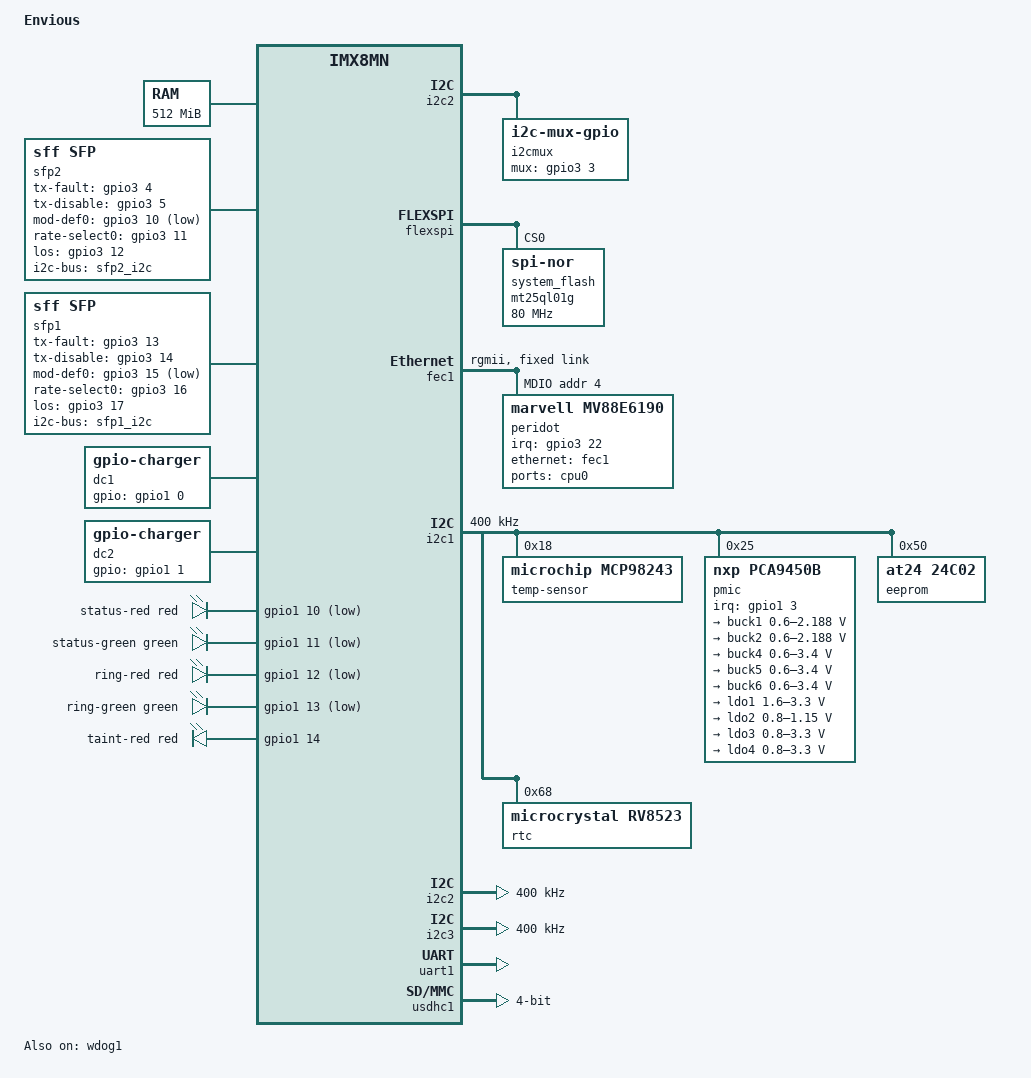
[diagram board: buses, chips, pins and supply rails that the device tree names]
// SPDX-License-Identifier: (GPL-2.0+ OR MIT)
/*
* Copyright 2019 NXP
*/

/dts-v1/;

#include <freescale/imx8mn.dtsi>
#include <dt-bindings/leds/common.h>

/* UPSTREAM */
&aips3 {
	flexspi: spi@30bb0000 {
		#address-cells = <1>;
		#size-cells = <0>;
		compatible = "nxp,imx8mn-fspi", "nxp,imx8mm-fspi";
		reg = <0x30bb0000 0x10000>, <0x8000000 0x10000000>;
		reg-names = "fspi_base", "fspi_mmap";
		interrupts = <GIC_SPI 107 IRQ_TYPE_LEVEL_HIGH>;
		clocks = <&clk IMX8MN_CLK_QSPI_ROOT>, <&clk IMX8MN_CLK_QSPI_ROOT>;
		clock-names = "fspi", "fspi_en";
		status = "disabled";
	};
};
/* END UPSTREAM */

#include <common/mv6.h>

/ {
	model = "Envious";
	compatible = "westermo,envoy", "fsl,imx8mn";

	chosen {
		stdout-path = &uart1;
	};

	memory@40000000 {
		device_type = "memory";
		reg = <0x0 0x40000000 0 0x20000000>;
	};
};

&A53_0 { cpu-supply = <&buck2>; };
&A53_1 { cpu-supply = <&buck2>; };
&A53_2 { cpu-supply = <&buck2>; };
&A53_3 { cpu-supply = <&buck2>; };

&cpu_alert0 {
	temperature = <95000>;
};

&cpu_crit0 {
	temperature = <105000>;
};

&ddrc {
	operating-points-v2 = <&ddrc_opp_table>;

	ddrc_opp_table: opp-table {
		compatible = "operating-points-v2";

		opp-50M {
			opp-hz = /bits/ 64 <50000000>;
		};

		opp-200M {
			opp-hz = /bits/ 64 <200000000>;
		};

		opp-800M {
			opp-hz = /bits/ 64 <800000000>;
		};
	};
};

&flexspi {
	status = "okay";
	pinctrl-names = "default";
	pinctrl-0 = <&pinctrl_flexspi0>;

	system_flash: mt25ql01g@0 {
		reg = <0>;
		compatible = "jedec,spi-nor";
		spi-max-frequency = <80000000>;
		spi-tx-bus-width = <4>;
		spi-rx-bus-width = <4>;
		#address-cells = <1>;
		#size-cells = <1>;
	};
};

&fec1 {
	status = "okay";
	pinctrl-names = "default";
	pinctrl-0 = <&pinctrl_fec1>;
	fsl,magic-packet;

	/* We're connected to a switch sending DSA tagged packets, so
	the FEC classifier will never queue anything on the AVB
	queues. */
	fsl,num-rx-queues = <1>;

	/* Enabling all more than one queue causes intermittent tx
	issues detailed here:
	https://lore.kernel.org/netdev/20200625085728.9869-1-tobias@waldekranz.com/
	*/
	fsl,num-tx-queues = <1>;

	phy-mode = "rgmii";
	fixed-link {
		speed = <1000>;
		full-duplex;
	};

	mdio {
		#address-cells = <1>;
		#size-cells = <0>;

		peridot: switch@4 {
			compatible = "marvell,mv88e6190";
			pinctrl-names = "default";
			pinctrl-0 = <&pinctrl_peridot>;
			interrupt-parent = <&gpio3>;
			interrupts = <22 IRQ_TYPE_LEVEL_LOW>;
			reg = <0x4>;

			dsa,member = <0 0>;
			dsa,num_tx_queues = <8>;

			interrupt-controller;
			#interrupt-cells = <2>;

			ports {
				#address-cells = <0x1>;
				#size-cells = <0x0>;

				port@0 {
					reg = <0x0>;
					label = "cpu0";
					ethernet = <&fec1>;
					phy-mode = "rgmii-id";

					fixed-link {
						speed = <1000>;
						full-duplex;
					};
				};

				mv6_port(1, "eth10", &phy1, "gmii");
				mv6_port(2, "eth9",  &phy2, "gmii");
				mv6_port(3, "eth8",  &phy3, "gmii");
				mv6_port(4, "eth7",  &phy4, "gmii");
				mv6_port(5, "eth6",  &phy5, "gmii");
				mv6_port(6, "eth5",  &phy6, "gmii");
				mv6_port(7, "eth4",  &phy7, "gmii");
				mv6_port(8, "eth3",  &phy8, "gmii");

				/* "SFP1" on schematic is connected to
				 eth2 and vice versa but in the DT we
				 map eth1<->sfp1. */
				mv6_port_sfp( 9, "eth2", &sfp2, "1000base-x");
				mv6_port_sfp(10, "eth1", &sfp1, "1000base-x");
			};

			mdio {
				#address-cells = <0x1>;
				#size-cells = <0x0>;
				interrupt-parent = <&peridot>;

				phy1: mv6_phy(1);
				phy2: mv6_phy(2);
				phy3: mv6_phy(3);
				phy4: mv6_phy(4);
				phy5: mv6_phy(5);
				phy6: mv6_phy(6);
				phy7: mv6_phy(7);
				phy8: mv6_phy(8);
			};
		};
	};
};

&i2c1 {
	status = "okay";
	clock-frequency = <400000>;
	pinctrl-names = "default";
	pinctrl-0 = <&pinctrl_i2c1>;

	temp-sensor@18 {
		compatible = "microchip,mcp98243", "jedec,jc-42.4-temp";
		reg = <0x18>;
	};

	pmic: pmic@25 {
		compatible = "nxp,pca9450b";
		reg = <0x25>;
		pinctrl-0 = <&pinctrl_pmic>;
		interrupt-parent = <&gpio1>;
		interrupts = <3 GPIO_ACTIVE_LOW>;

		regulators {
			buck1: BUCK1{
				regulator-name = "VDD_DRAM";
				regulator-min-microvolt = <600000>;
				regulator-max-microvolt = <2187500>;
				regulator-boot-on;
				regulator-always-on;
				regulator-ramp-delay = <3125>;
			};

			buck2: BUCK2 {
				regulator-name = "VDD_ARM";
				regulator-min-microvolt = <600000>;
				regulator-max-microvolt = <2187500>;
				regulator-boot-on;
				regulator-always-on;
				regulator-ramp-delay = <3125>;
				nxp,dvs-run-voltage = <950000>;
				nxp,dvs-standby-voltage = <850000>;
			};

			buck4: BUCK4{
				regulator-name = "NVCC_3V3";
				regulator-min-microvolt = <600000>;
				regulator-max-microvolt = <3400000>;
				regulator-boot-on;
				regulator-always-on;
			};

			buck5: BUCK5{
				regulator-name = "NVCC_1V8";
				regulator-min-microvolt = <600000>;
				regulator-max-microvolt = <3400000>;
				regulator-boot-on;
				regulator-always-on;
			};

			buck6: BUCK6 {
				regulator-name = "NVCC_DRAM_1V1";
				regulator-min-microvolt = <600000>;
				regulator-max-microvolt = <3400000>;
				regulator-boot-on;
				regulator-always-on;
			};

			ldo1: LDO1 {
				regulator-name = "NVCC_SNVS_1V8";
				regulator-min-microvolt = <1600000>;
				regulator-max-microvolt = <3300000>;
				regulator-boot-on;
				regulator-always-on;
			};

			ldo2: LDO2 {
				regulator-name = "NVCC_SNVS_0V8";
				regulator-min-microvolt = <800000>;
				regulator-max-microvolt = <1150000>;
				regulator-boot-on;
				regulator-always-on;
			};

			ldo3: LDO3 {
				regulator-name = "VDDA_1V8";
				regulator-min-microvolt = <800000>;
				regulator-max-microvolt = <3300000>;
				regulator-boot-on;
				regulator-always-on;
			};

			ldo4: LDO4 {
				regulator-name = "VDD_PHY_1V2";
				regulator-min-microvolt = <800000>;
				regulator-max-microvolt = <3300000>;
				regulator-boot-on;
				regulator-always-on;
			};
		};
	};

	eeprom@50 { /* Internal to the MCP98243 */
		compatible = "at24,24c02";
		reg = <0x50>;
		read-only;
	};

	rtc@68 {
		compatible = "microcrystal,rv8523", "nxp,pcf8523";
		reg = <0x68>;
	};
};

&i2c2 {
	status = "okay";
	clock-frequency = <400000>;
	pinctrl-names = "default";
	pinctrl-0 = <&pinctrl_i2c2>;
};

/ {
	i2cmux {
		compatible = "i2c-mux-gpio";
		pinctrl-names = "default";
		pinctrl-0 = <&pinctrl_sfpmux>;
		i2c-parent = <&i2c2>;
		mux-gpios = <&gpio3 3 GPIO_ACTIVE_HIGH>;
		#address-cells = <1>;
		#size-cells = <0>;

		sfp2_i2c: i2c@0 {
			reg = <0>;
			#address-cells = <1>;
			#size-cells = <0>;
		};

		sfp1_i2c: i2c@1 {
			reg = <1>;
			#address-cells = <1>;
			#size-cells = <0>;
		};
	};

	/* This is "SFP1" on the schematic, but it is connected to
	eth2, so we call it sfp2. */
	sfp2: sfp2 {
		compatible = "sff,sfp";
		pinctrl-names = "default";
		pinctrl-0 = <&pinctrl_sfp2>;
		maximum-power-milliwatt = <1000>;
		i2c-bus = <&sfp2_i2c>;

		tx-fault-gpios     = <&gpio3  4 GPIO_ACTIVE_HIGH>;
		tx-disable-gpios   = <&gpio3  5 GPIO_ACTIVE_HIGH>;
		mod-def0-gpios     = <&gpio3 10 GPIO_ACTIVE_LOW>;
		rate-select0-gpios = <&gpio3 11 GPIO_ACTIVE_HIGH>;
		los-gpios          = <&gpio3 12 GPIO_ACTIVE_HIGH>;
	};

	/* This is "SFP2" on the schematic, but it is connected to
	eth1, so we call it sfp1. */
	sfp1: sfp1 {
		compatible = "sff,sfp";
		pinctrl-names = "default";
		pinctrl-0 = <&pinctrl_sfp1>;
		maximum-power-milliwatt = <1000>;
		i2c-bus = <&sfp1_i2c>;

		tx-fault-gpios     = <&gpio3 13 GPIO_ACTIVE_HIGH>;
		tx-disable-gpios   = <&gpio3 14 GPIO_ACTIVE_HIGH>;
		mod-def0-gpios     = <&gpio3 15 GPIO_ACTIVE_LOW>;
		rate-select0-gpios = <&gpio3 16 GPIO_ACTIVE_HIGH>;
		los-gpios          = <&gpio3 17 GPIO_ACTIVE_HIGH>;
	};
};

poe_i2c: &i2c3 {
	status = "okay";
	clock-frequency = <400000>;
	pinctrl-names = "default";
	pinctrl-0 = <&pinctrl_i2c3>;
};

&uart1 { /* console */
	pinctrl-names = "default";
	pinctrl-0 = <&pinctrl_uart1>;
	status = "okay";
};

&usdhc1 {
	status = "okay";
	assigned-clocks = <&clk IMX8MN_CLK_USDHC1>;
	assigned-clock-rates = <200000000>;
	pinctrl-names = "default", "state_100mhz", "state_200mhz";
	pinctrl-0 = <&pinctrl_usdhc1>;
	pinctrl-1 = <&pinctrl_usdhc1_100mhz>;
	pinctrl-2 = <&pinctrl_usdhc1_200mhz>;
	bus-width = <4>;
	#address-cells = <1>;
	#size-cells = <0>;
};

&wdog1 {
	pinctrl-names = "default";
	pinctrl-0 = <&pinctrl_wdog>;
	fsl,ext-reset-output;
	status = "okay";
};

&snvs_rtc {
	/* The board uses an external RTC backed by a
	 * supercapacitor instead. */
	status = "disabled";
};

/ {
	dc1: dc1 {
		compatible = "gpio-charger";
		pinctrl-names = "default";
		pinctrl-0 = <&pinctrl_dc1>;
		charger-type = "mains";
		gpios = <&gpio1 0 GPIO_ACTIVE_HIGH>;
	};

	dc2: dc2 {
		compatible = "gpio-charger";
		pinctrl-names = "default";
		pinctrl-0 = <&pinctrl_dc2>;
		charger-type = "mains";
		gpios = <&gpio1 1 GPIO_ACTIVE_HIGH>;
	};

	gpio-leds {
		compatible = "gpio-leds";
		pinctrl-names = "default";
		pinctrl-0 = <&pinctrl_leds>;

		status-red {
			function = LED_FUNCTION_STATUS;
			color = <LED_COLOR_ID_RED>;
			gpios = <&gpio1 10 GPIO_ACTIVE_LOW>;
			default-state = "on";
		};
		status-green {
			function = LED_FUNCTION_STATUS;
			color = <LED_COLOR_ID_GREEN>;
			gpios = <&gpio1 11 GPIO_ACTIVE_LOW>;
		};

		ring-red {
			function = "ring";
			color = <LED_COLOR_ID_RED>;
			gpios = <&gpio1 12 GPIO_ACTIVE_LOW>;
		};
		ring-green {
			function = "ring";
			color = <LED_COLOR_ID_GREEN>;
			gpios = <&gpio1 13 GPIO_ACTIVE_LOW>;
		};

		taint-red {
			function = "taint";
			color = <LED_COLOR_ID_RED>;
			gpios = <&gpio1 14 GPIO_ACTIVE_HIGH>;
			default-state = "keep";
		};
	};

};

&gpio1 {
	pinctrl-names = "default";
	pinctrl-0 = <&pinctrl_io>;
	gpio-line-names =
	"dc1", "dc2", "", "",
	"io-in", "io-out", "", "",
	"", "", "led-on-red", "led-on-green",
	"led-ring-red", "led-ring-green", "led-taint-red", "led-taint-in",
	"", "", "", "",
	"", "", "", "",
	"", "", "", "",
	"", "", "", "";
};

&gpio3 {
	pinctrl-names = "default";
	pinctrl-0 = <&pinctrl_exp>;
	gpio-line-names =
	"", "", "", "",
	"", "", "", "",
	"", "", "", "",
	"", "", "", "",
	"", "", "", "",
	"", "exp-reset", "", "",
	"", "", "", "",
	"", "", "", "";
};

&iomuxc {
	pinctrl-names = "default";

	pinctrl_dc1: dc1grp {
		fsl,pins = <
		MX8MN_IOMUXC_GPIO1_IO00_GPIO1_IO0	0
		>;
	};

	pinctrl_dc2: dc2grp {
		fsl,pins = <
		 MX8MN_IOMUXC_GPIO1_IO01_GPIO1_IO1	0
		>;
	};

	pinctrl_fec1: fec1grp {
		fsl,pins = <
		MX8MN_IOMUXC_ENET_MDC_ENET1_MDC		0x3
		MX8MN_IOMUXC_ENET_MDIO_ENET1_MDIO	0x3
		MX8MN_IOMUXC_ENET_TD3_ENET1_RGMII_TD3	0x1f
		MX8MN_IOMUXC_ENET_TD2_ENET1_RGMII_TD2	0x1f
		MX8MN_IOMUXC_ENET_TD1_ENET1_RGMII_TD1	0x1f
		MX8MN_IOMUXC_ENET_TD0_ENET1_RGMII_TD0	0x1f
		MX8MN_IOMUXC_ENET_RD3_ENET1_RGMII_RD3	0x91
		MX8MN_IOMUXC_ENET_RD2_ENET1_RGMII_RD2	0x91
		MX8MN_IOMUXC_ENET_RD1_ENET1_RGMII_RD1	0x91
		MX8MN_IOMUXC_ENET_RD0_ENET1_RGMII_RD0	0x91
		MX8MN_IOMUXC_ENET_TXC_ENET1_RGMII_TXC	0x1f
		MX8MN_IOMUXC_ENET_RXC_ENET1_RGMII_RXC	0x91
		MX8MN_IOMUXC_ENET_RX_CTL_ENET1_RGMII_RX_CTL	0x91
		MX8MN_IOMUXC_ENET_TX_CTL_ENET1_RGMII_TX_CTL	0x1f
		MX8MN_IOMUXC_SAI2_RXC_GPIO4_IO22	0x19
		>;
	};

	pinctrl_flexspi0: flexspi0grp {
		fsl,pins = <
		MX8MN_IOMUXC_NAND_ALE_QSPI_A_SCLK	0x1c4
		MX8MN_IOMUXC_NAND_CE0_B_QSPI_A_SS0_B	0x84

		MX8MN_IOMUXC_NAND_DATA00_QSPI_A_DATA0	0x84
		MX8MN_IOMUXC_NAND_DATA01_QSPI_A_DATA1	0x84
		MX8MN_IOMUXC_NAND_DATA02_QSPI_A_DATA2	0x84
		MX8MN_IOMUXC_NAND_DATA03_QSPI_A_DATA3	0x84
		>;
	};

	pinctrl_i2c1: i2c1grp {
		fsl,pins = <
		MX8MN_IOMUXC_I2C1_SCL_I2C1_SCL		0x400001c3
		MX8MN_IOMUXC_I2C1_SDA_I2C1_SDA		0x400001c3
		>;
	};

	pinctrl_i2c2: i2c2grp {
		fsl,pins = <
		MX8MN_IOMUXC_ECSPI1_MISO_I2C2_SCL	0x400001c3
		MX8MN_IOMUXC_ECSPI1_SS0_I2C2_SDA	0x400001c3
		>;
	};

	pinctrl_i2c3: i2c3grp {
		fsl,pins = <
		MX8MN_IOMUXC_I2C3_SCL_I2C3_SCL		0x400001c3
		MX8MN_IOMUXC_I2C3_SDA_I2C3_SDA		0x400001c3
		>;
	};

	pinctrl_io: iogrp {
		fsl,pins = <
		MX8MN_IOMUXC_GPIO1_IO04_GPIO1_IO4	0
		MX8MN_IOMUXC_GPIO1_IO05_GPIO1_IO5	0
		MX8MN_IOMUXC_GPIO1_IO15_GPIO1_IO15	0
		>;
	};

	pinctrl_leds: ledgrp {
		fsl,pins = <
		MX8MN_IOMUXC_GPIO1_IO10_GPIO1_IO10	0
		MX8MN_IOMUXC_GPIO1_IO11_GPIO1_IO11	0
		MX8MN_IOMUXC_GPIO1_IO12_GPIO1_IO12	0
		MX8MN_IOMUXC_GPIO1_IO13_GPIO1_IO13	0
		MX8MN_IOMUXC_GPIO1_IO14_GPIO1_IO14	0
		>;
	};

	pinctrl_peridot: peridotgrp {
		fsl,pins = <
		MX8MN_IOMUXC_SAI5_RXD1_GPIO3_IO22	0
		>;
	};

	pinctrl_pmic: pmicirq {
		fsl,pins = <
		MX8MN_IOMUXC_GPIO1_IO03_GPIO1_IO3	0x41
		>;
	};

	pinctrl_sfpmux: sfpmuxgrp {
		fsl,pins = <
		MX8MN_IOMUXC_NAND_CE2_B_GPIO3_IO3	0
		>;
	};

	pinctrl_sfp2: sfp2grp {
		fsl,pins = <
		MX8MN_IOMUXC_NAND_CE3_B_GPIO3_IO4	0
		MX8MN_IOMUXC_NAND_CLE_GPIO3_IO5		0
		MX8MN_IOMUXC_NAND_DATA04_GPIO3_IO10	0
		MX8MN_IOMUXC_NAND_DATA05_GPIO3_IO11	0
		MX8MN_IOMUXC_NAND_DATA06_GPIO3_IO12	0
		>;
	};

	pinctrl_sfp1: sfp1grp {
		fsl,pins = <
		MX8MN_IOMUXC_NAND_DATA07_GPIO3_IO13	0
		MX8MN_IOMUXC_NAND_DQS_GPIO3_IO14	0
		MX8MN_IOMUXC_NAND_RE_B_GPIO3_IO15	0
		MX8MN_IOMUXC_NAND_READY_B_GPIO3_IO16	0
		MX8MN_IOMUXC_NAND_WE_B_GPIO3_IO17	0
		>;
	};

	pinctrl_uart1: uart1grp {
		fsl,pins = <
		MX8MN_IOMUXC_UART1_RXD_UART1_DCE_RX	0x140
		MX8MN_IOMUXC_UART1_TXD_UART1_DCE_TX	0x140
		>;
	};

	pinctrl_usdhc1: usdhc1grp {
		fsl,pins = <
		MX8MN_IOMUXC_GPIO1_IO06_USDHC1_CD_B     0
                MX8MN_IOMUXC_SD1_CLK_USDHC1_CLK         0x190
                MX8MN_IOMUXC_SD1_CMD_USDHC1_CMD         0x1d0
                MX8MN_IOMUXC_SD1_DATA0_USDHC1_DATA0     0x1d0
                MX8MN_IOMUXC_SD1_DATA1_USDHC1_DATA1     0x1d0
                MX8MN_IOMUXC_SD1_DATA2_USDHC1_DATA2     0x1d0
                MX8MN_IOMUXC_SD1_DATA3_USDHC1_DATA3     0x1d0
		>;
	};

	pinctrl_usdhc1_100mhz: usdhc1-100mhzgrp {
		fsl,pins = <
		MX8MN_IOMUXC_GPIO1_IO06_USDHC1_CD_B     0
                MX8MN_IOMUXC_SD1_CLK_USDHC1_CLK         0x194
                MX8MN_IOMUXC_SD1_CMD_USDHC1_CMD         0x1d4
                MX8MN_IOMUXC_SD1_DATA0_USDHC1_DATA0     0x1d4
                MX8MN_IOMUXC_SD1_DATA1_USDHC1_DATA1     0x1d4
                MX8MN_IOMUXC_SD1_DATA2_USDHC1_DATA2     0x1d4
                MX8MN_IOMUXC_SD1_DATA3_USDHC1_DATA3     0x1d4
		>;
	};

	pinctrl_usdhc1_200mhz: usdhc1-200mhzgrp {
		fsl,pins = <
		MX8MN_IOMUXC_GPIO1_IO06_USDHC1_CD_B     0
                MX8MN_IOMUXC_SD1_CLK_USDHC1_CLK         0x196
                MX8MN_IOMUXC_SD1_CMD_USDHC1_CMD         0x1d6
                MX8MN_IOMUXC_SD1_DATA0_USDHC1_DATA0     0x1d6
                MX8MN_IOMUXC_SD1_DATA1_USDHC1_DATA1     0x1d6
                MX8MN_IOMUXC_SD1_DATA2_USDHC1_DATA2     0x1d6
                MX8MN_IOMUXC_SD1_DATA3_USDHC1_DATA3     0x1d6
		>;
	};

	pinctrl_wdog: wdoggrp {
		fsl,pins = <
		MX8MN_IOMUXC_GPIO1_IO02_WDOG1_WDOG_B		0xc6
		>;
	};

	pinctrl_exp: expgrp {
		fsl,pins = <
		MX8MN_IOMUXC_SAI5_RXD0_GPIO3_IO21	0
		>;
	};
};

#include <common/system-flash/128M-dual.dtsi>
